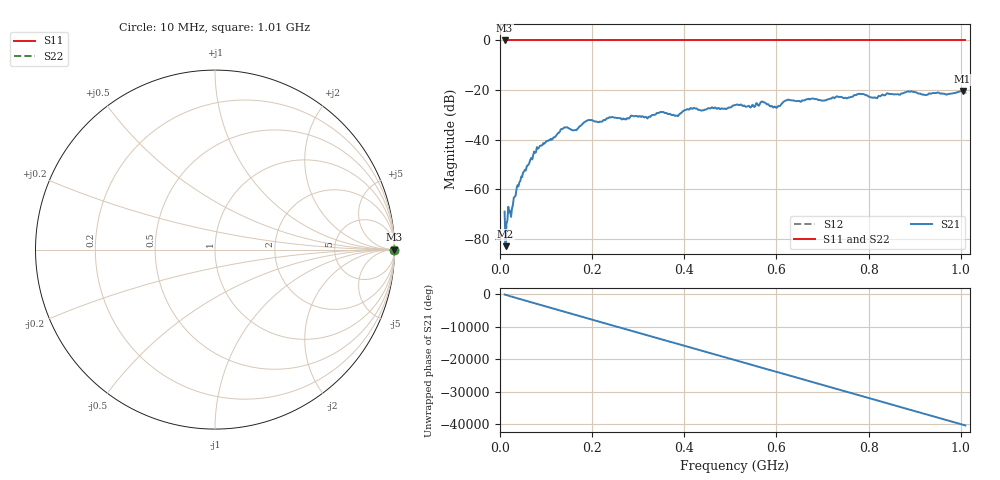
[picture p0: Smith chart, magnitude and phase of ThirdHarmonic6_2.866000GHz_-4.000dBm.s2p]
! 8/17/2025 7:49:02 AM
! C:\ANRITSUVNA\TEMP\TEMP.S2P
! CHANNEL.1
! TR.MEASUREMENT
! RAW.DATA
! RF.CORRECTION.OFF
! AVERAGING.OFF
! IF.BANDWIDTH: 5KHZ
! SWEEPTYPE:  FREQ.SWEEP(Linear)
! Reference Plane Port Info
! PORT:  PORT1  PORT2
! DISTANCE:  0  m  0  m
! TIME:  0  s  0  s
! PHASE.OFFSET:  0  deg.  0  deg.
! LOSS:  0  dB  0  dB
! REF.LOSS:  0  dB  0  dB
! REF.FREQ:  0  Hz  0  Hz
! Power Info
! POWER:  -20  dBm  -20  dBm
! EFF.POWER:  -20  dBm  -20  dBm
! SOURCE.ATTEN:  0  dB  0  dB
! TEST.ATTEN:  0  dB  0  dB
# GHZ S RI R 50.0
! FREQ.GHZ  S11RE  S11IM  S21RE  S21IM  S12RE  S12IM  S22RE  S22IM
!; PortSelection: Port_12
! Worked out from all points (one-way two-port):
!   501 points, 10 MHz to 1.01 GHz, reference 50 ohm
!   highest |S21| = -20.40 dB at 1.004 GHz (marker M1); lowest = -82.8 dB at 12 MHz (marker M2)
!   lowest |S11| = 0.0 dB at 10 MHz (marker M3)
!   |S11| at or under -10 dB: nowhere
!   |S22| runs from 0.0 to 0.0 dB; largest |S21 - S12| = 1.1
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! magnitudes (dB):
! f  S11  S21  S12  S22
! 10 MHz  0.0  -68.9  0.0  0.0
! 12 MHz  0.0  -82.8  0.0  0.0
! 24 MHz  0.0  -71.1  0.0  0.0
! 34 MHz  0.0  -62.4  0.0  0.0
! 50 MHz  0.0  -53.2  0.0  0.0
! 78 MHz  0.0  -45.0  0.0  0.0
! 136 MHz  0.0  -35.6  0.0  0.0
! 162 MHz  0.0  -36.1  0.0  0.0
! 178 MHz  0.0  -33.8  0.0  0.0
! 194 MHz  0.0  -32.0  0.0  0.0
! 344 MHz  0.0  -29.2  0.0  0.0
! 384 MHz  0.0  -30.3  0.0  0.0
! 416 MHz  0.0  -27.5  0.0  0.0
! 510 MHz  0.0  -26.1  0.0  0.0
! 548 MHz  0.0  -25.9  0.0  0.0
! 570 MHz  0.0  -24.6  0.0  0.0
! 598 MHz  0.0  -26.8  0.0  0.0
! 622 MHz  0.0  -24.1  0.0  0.0
! 678 MHz  0.0  -23.4  0.0  0.0
! 844 MHz  0.0  -21.5  0.0  0.0
! 1.004 GHz  0.0  -20.4  0.0  0.0
! 1.01 GHz  0.0  -21.0  0.0  0.0
